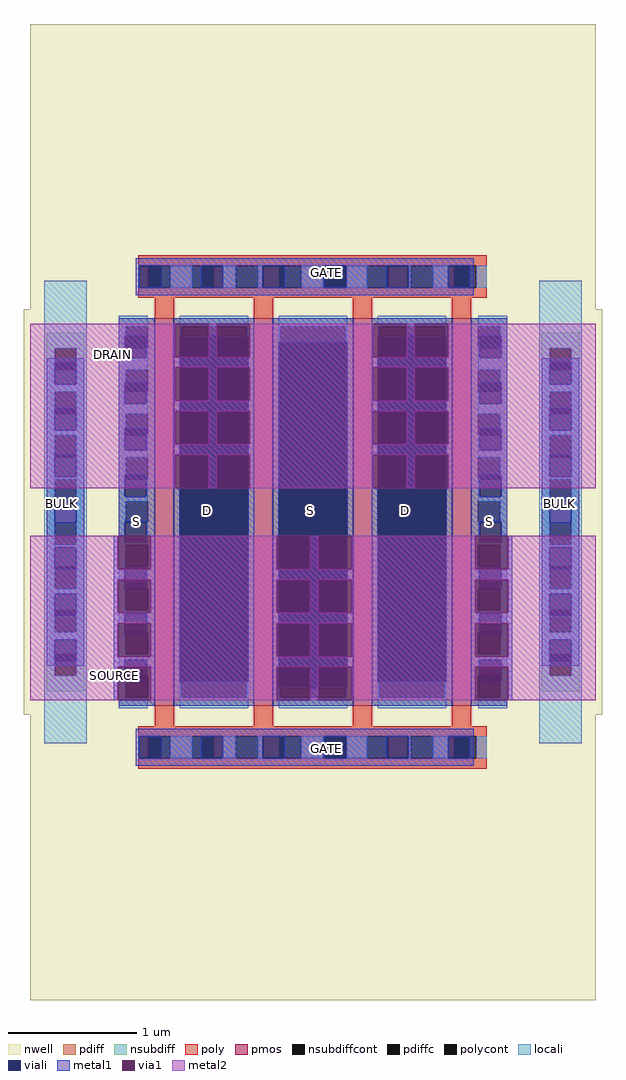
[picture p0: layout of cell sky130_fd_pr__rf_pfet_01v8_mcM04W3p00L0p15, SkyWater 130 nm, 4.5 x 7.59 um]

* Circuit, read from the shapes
.subckt sky130_fd_pr__rf_pfet_01v8_mcM04W3p00L0p15 DRAIN GATE SOURCE BULK
XM1 DRAIN GATE SOURCE BULK sky130_fd_pr__pfet_01v8 w=3.01 l=0.15 m=4
.ends

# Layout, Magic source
magic
tech sky130A
magscale 1 2
<< nwell >>
rect 0 1074 880 1518
rect -10 444 890 1074
rect 0 0 880 444
<< pmos >>
rect 194 458 224 1060
rect 348 458 378 1060
rect 502 458 532 1060
rect 656 458 686 1060
<< pdiff >>
rect 138 1048 194 1060
rect 138 1014 149 1048
rect 183 1014 194 1048
rect 138 980 194 1014
rect 138 946 149 980
rect 183 946 194 980
rect 138 912 194 946
rect 138 878 149 912
rect 183 878 194 912
rect 138 844 194 878
rect 138 810 149 844
rect 183 810 194 844
rect 138 776 194 810
rect 138 742 149 776
rect 183 742 194 776
rect 138 708 194 742
rect 138 674 149 708
rect 183 674 194 708
rect 138 640 194 674
rect 138 606 149 640
rect 183 606 194 640
rect 138 572 194 606
rect 138 538 149 572
rect 183 538 194 572
rect 138 504 194 538
rect 138 470 149 504
rect 183 470 194 504
rect 138 458 194 470
rect 224 1048 348 1060
rect 224 470 235 1048
rect 337 470 348 1048
rect 224 458 348 470
rect 378 1048 502 1060
rect 378 470 389 1048
rect 491 470 502 1048
rect 378 458 502 470
rect 532 1048 656 1060
rect 532 470 543 1048
rect 645 470 656 1048
rect 532 458 656 470
rect 686 1048 742 1060
rect 686 1014 697 1048
rect 731 1014 742 1048
rect 686 980 742 1014
rect 686 946 697 980
rect 731 946 742 980
rect 686 912 742 946
rect 686 878 697 912
rect 731 878 742 912
rect 686 844 742 878
rect 686 810 697 844
rect 731 810 742 844
rect 686 776 742 810
rect 686 742 697 776
rect 731 742 742 776
rect 686 708 742 742
rect 686 674 697 708
rect 731 674 742 708
rect 686 640 742 674
rect 686 606 697 640
rect 731 606 742 640
rect 686 572 742 606
rect 686 538 697 572
rect 731 538 742 572
rect 686 504 742 538
rect 686 470 697 504
rect 731 470 742 504
rect 686 458 742 470
<< pdiffc >>
rect 149 1014 183 1048
rect 149 946 183 980
rect 149 878 183 912
rect 149 810 183 844
rect 149 742 183 776
rect 149 674 183 708
rect 149 606 183 640
rect 149 538 183 572
rect 149 470 183 504
rect 235 470 337 1048
rect 389 470 491 1048
rect 543 470 645 1048
rect 697 1014 731 1048
rect 697 946 731 980
rect 697 878 731 912
rect 697 810 731 844
rect 697 742 731 776
rect 697 674 731 708
rect 697 606 731 640
rect 697 538 731 572
rect 697 470 731 504
<< nsubdiff >>
rect 26 1014 84 1038
rect 26 980 38 1014
rect 72 980 84 1014
rect 26 946 84 980
rect 26 912 38 946
rect 72 912 84 946
rect 26 878 84 912
rect 26 844 38 878
rect 72 844 84 878
rect 26 810 84 844
rect 26 776 38 810
rect 72 776 84 810
rect 26 742 84 776
rect 26 708 38 742
rect 72 708 84 742
rect 26 674 84 708
rect 26 640 38 674
rect 72 640 84 674
rect 26 606 84 640
rect 26 572 38 606
rect 72 572 84 606
rect 26 538 84 572
rect 26 504 38 538
rect 72 504 84 538
rect 26 480 84 504
rect 796 1014 854 1038
rect 796 980 808 1014
rect 842 980 854 1014
rect 796 946 854 980
rect 796 912 808 946
rect 842 912 854 946
rect 796 878 854 912
rect 796 844 808 878
rect 842 844 854 878
rect 796 810 854 844
rect 796 776 808 810
rect 842 776 854 810
rect 796 742 854 776
rect 796 708 808 742
rect 842 708 854 742
rect 796 674 854 708
rect 796 640 808 674
rect 842 640 854 674
rect 796 606 854 640
rect 796 572 808 606
rect 842 572 854 606
rect 796 538 854 572
rect 796 504 808 538
rect 842 504 854 538
rect 796 480 854 504
<< nsubdiffcont >>
rect 38 980 72 1014
rect 38 912 72 946
rect 38 844 72 878
rect 38 776 72 810
rect 38 708 72 742
rect 38 640 72 674
rect 38 572 72 606
rect 38 504 72 538
rect 808 980 842 1014
rect 808 912 842 946
rect 808 844 842 878
rect 808 776 842 810
rect 808 708 842 742
rect 808 640 842 674
rect 808 572 842 606
rect 808 504 842 538
<< poly >>
rect 168 1142 710 1158
rect 168 1108 184 1142
rect 218 1108 252 1142
rect 286 1108 320 1142
rect 354 1108 388 1142
rect 422 1108 456 1142
rect 490 1108 524 1142
rect 558 1108 592 1142
rect 626 1108 660 1142
rect 694 1108 710 1142
rect 168 1092 710 1108
rect 194 1060 224 1092
rect 348 1060 378 1092
rect 502 1060 532 1092
rect 656 1060 686 1092
rect 194 426 224 458
rect 348 426 378 458
rect 502 426 532 458
rect 656 426 686 458
rect 168 410 710 426
rect 168 376 184 410
rect 218 376 252 410
rect 286 376 320 410
rect 354 376 388 410
rect 422 376 456 410
rect 490 376 524 410
rect 558 376 592 410
rect 626 376 660 410
rect 694 376 710 410
rect 168 360 710 376
<< polycont >>
rect 184 1108 218 1142
rect 252 1108 286 1142
rect 320 1108 354 1142
rect 388 1108 422 1142
rect 456 1108 490 1142
rect 524 1108 558 1142
rect 592 1108 626 1142
rect 660 1108 694 1142
rect 184 376 218 410
rect 252 376 286 410
rect 320 376 354 410
rect 388 376 422 410
rect 456 376 490 410
rect 524 376 558 410
rect 592 376 626 410
rect 660 376 694 410
<< locali >>
rect 22 1014 88 1119
rect 168 1108 170 1142
rect 218 1108 252 1142
rect 300 1108 320 1142
rect 354 1108 362 1142
rect 422 1108 456 1142
rect 492 1108 524 1142
rect 588 1108 592 1142
rect 626 1108 650 1142
rect 694 1108 710 1142
rect 22 958 38 1014
rect 72 958 88 1014
rect 22 946 88 958
rect 22 886 38 946
rect 72 886 88 946
rect 22 878 88 886
rect 22 814 38 878
rect 72 814 88 878
rect 22 810 88 814
rect 22 708 38 810
rect 72 708 88 810
rect 22 704 88 708
rect 22 640 38 704
rect 72 640 88 704
rect 22 632 88 640
rect 22 572 38 632
rect 72 572 88 632
rect 22 560 88 572
rect 22 504 38 560
rect 72 504 88 560
rect 22 399 88 504
rect 138 1048 183 1064
rect 138 1033 149 1048
rect 138 999 147 1033
rect 181 999 183 1014
rect 138 980 183 999
rect 138 961 149 980
rect 138 927 147 961
rect 181 927 183 946
rect 138 912 183 927
rect 138 889 149 912
rect 138 855 147 889
rect 181 855 183 878
rect 138 844 183 855
rect 138 817 149 844
rect 138 783 147 817
rect 181 783 183 810
rect 138 776 183 783
rect 138 745 149 776
rect 138 711 147 745
rect 181 711 183 742
rect 138 708 183 711
rect 138 674 149 708
rect 138 673 183 674
rect 138 639 147 673
rect 181 640 183 673
rect 138 606 149 639
rect 138 601 183 606
rect 138 567 147 601
rect 181 572 183 601
rect 138 538 149 567
rect 138 529 183 538
rect 138 495 147 529
rect 181 504 183 529
rect 138 470 149 495
rect 138 454 183 470
rect 233 1048 339 1064
rect 233 1033 235 1048
rect 337 1033 339 1048
rect 233 470 235 495
rect 337 470 339 495
rect 233 454 339 470
rect 387 1048 493 1064
rect 387 1023 389 1048
rect 491 1023 493 1048
rect 387 470 389 485
rect 491 470 493 485
rect 387 454 493 470
rect 541 1048 647 1064
rect 541 1033 543 1048
rect 645 1033 647 1048
rect 541 470 543 495
rect 645 470 647 495
rect 541 454 647 470
rect 697 1048 742 1064
rect 731 1033 742 1048
rect 697 999 699 1014
rect 733 999 742 1033
rect 697 980 742 999
rect 731 961 742 980
rect 697 927 699 946
rect 733 927 742 961
rect 697 912 742 927
rect 731 889 742 912
rect 697 855 699 878
rect 733 855 742 889
rect 697 844 742 855
rect 731 817 742 844
rect 697 783 699 810
rect 733 783 742 817
rect 697 776 742 783
rect 731 745 742 776
rect 697 711 699 742
rect 733 711 742 745
rect 697 708 742 711
rect 731 674 742 708
rect 697 673 742 674
rect 697 640 699 673
rect 733 639 742 673
rect 731 606 742 639
rect 697 601 742 606
rect 697 572 699 601
rect 733 567 742 601
rect 731 538 742 567
rect 697 529 742 538
rect 697 504 699 529
rect 733 495 742 529
rect 731 470 742 495
rect 697 454 742 470
rect 792 1014 858 1119
rect 792 958 808 1014
rect 842 958 858 1014
rect 792 946 858 958
rect 792 886 808 946
rect 842 886 858 946
rect 792 878 858 886
rect 792 814 808 878
rect 842 814 858 878
rect 792 810 858 814
rect 792 708 808 810
rect 842 708 858 810
rect 792 704 858 708
rect 792 640 808 704
rect 842 640 858 704
rect 792 632 858 640
rect 792 572 808 632
rect 842 572 858 632
rect 792 560 858 572
rect 792 504 808 560
rect 842 504 858 560
rect 168 376 170 410
rect 218 376 252 410
rect 300 376 320 410
rect 354 376 362 410
rect 422 376 456 410
rect 492 376 524 410
rect 588 376 592 410
rect 626 376 650 410
rect 694 376 710 410
rect 792 399 858 504
<< viali >>
rect 170 1108 184 1142
rect 184 1108 204 1142
rect 266 1108 286 1142
rect 286 1108 300 1142
rect 362 1108 388 1142
rect 388 1108 396 1142
rect 458 1108 490 1142
rect 490 1108 492 1142
rect 554 1108 558 1142
rect 558 1108 588 1142
rect 650 1108 660 1142
rect 660 1108 684 1142
rect 38 980 72 992
rect 38 958 72 980
rect 38 912 72 920
rect 38 886 72 912
rect 38 844 72 848
rect 38 814 72 844
rect 38 742 72 776
rect 38 674 72 704
rect 38 670 72 674
rect 38 606 72 632
rect 38 598 72 606
rect 38 538 72 560
rect 38 526 72 538
rect 147 1014 149 1033
rect 149 1014 181 1033
rect 147 999 181 1014
rect 147 946 149 961
rect 149 946 181 961
rect 147 927 181 946
rect 147 878 149 889
rect 149 878 181 889
rect 147 855 181 878
rect 147 810 149 817
rect 149 810 181 817
rect 147 783 181 810
rect 147 742 149 745
rect 149 742 181 745
rect 147 711 181 742
rect 147 640 181 673
rect 147 639 149 640
rect 149 639 181 640
rect 147 572 181 601
rect 147 567 149 572
rect 149 567 181 572
rect 147 504 181 529
rect 147 495 149 504
rect 149 495 181 504
rect 233 495 235 1033
rect 235 495 337 1033
rect 337 495 339 1033
rect 387 485 389 1023
rect 389 485 491 1023
rect 491 485 493 1023
rect 541 495 543 1033
rect 543 495 645 1033
rect 645 495 647 1033
rect 699 1014 731 1033
rect 731 1014 733 1033
rect 699 999 733 1014
rect 699 946 731 961
rect 731 946 733 961
rect 699 927 733 946
rect 699 878 731 889
rect 731 878 733 889
rect 699 855 733 878
rect 699 810 731 817
rect 731 810 733 817
rect 699 783 733 810
rect 699 742 731 745
rect 731 742 733 745
rect 699 711 733 742
rect 699 640 733 673
rect 699 639 731 640
rect 731 639 733 640
rect 699 572 733 601
rect 699 567 731 572
rect 731 567 733 572
rect 699 504 733 529
rect 699 495 731 504
rect 731 495 733 504
rect 808 980 842 992
rect 808 958 842 980
rect 808 912 842 920
rect 808 886 842 912
rect 808 844 842 848
rect 808 814 842 844
rect 808 742 842 776
rect 808 674 842 704
rect 808 670 842 674
rect 808 606 842 632
rect 808 598 842 606
rect 808 538 842 560
rect 808 526 842 538
rect 170 376 184 410
rect 184 376 204 410
rect 266 376 286 410
rect 286 376 300 410
rect 362 376 388 410
rect 388 376 396 410
rect 458 376 490 410
rect 490 376 492 410
rect 554 376 558 410
rect 558 376 588 410
rect 650 376 660 410
rect 660 376 684 410
<< metal1 >>
rect 164 1142 690 1154
rect 164 1108 170 1142
rect 204 1108 266 1142
rect 300 1108 362 1142
rect 396 1108 458 1142
rect 492 1108 554 1142
rect 588 1108 650 1142
rect 684 1108 690 1142
rect 164 1096 690 1108
rect 138 1033 194 1060
rect 138 999 147 1033
rect 181 999 194 1033
rect 26 992 84 998
rect 26 958 38 992
rect 72 958 84 992
rect 26 920 84 958
rect 26 886 38 920
rect 72 886 84 920
rect 26 848 84 886
rect 26 814 38 848
rect 72 814 84 848
rect 26 776 84 814
rect 26 742 38 776
rect 72 742 84 776
rect 26 704 84 742
rect 138 961 194 999
rect 138 927 147 961
rect 181 927 194 961
rect 138 889 194 927
rect 138 855 147 889
rect 181 855 194 889
rect 138 817 194 855
rect 138 783 147 817
rect 181 783 194 817
rect 138 745 194 783
rect 138 722 147 745
rect 181 722 194 745
rect 26 670 38 704
rect 72 670 84 704
rect 26 632 84 670
rect 26 598 38 632
rect 72 598 84 632
rect 26 560 84 598
rect 26 526 38 560
rect 72 526 84 560
rect 26 520 84 526
rect 130 670 136 722
rect 188 670 194 722
rect 130 654 147 670
rect 181 654 194 670
rect 130 602 136 654
rect 188 602 194 654
rect 130 601 194 602
rect 130 586 147 601
rect 181 586 194 601
rect 130 534 136 586
rect 188 534 194 586
rect 130 529 194 534
rect 130 518 147 529
rect 181 518 194 529
rect 130 466 136 518
rect 188 466 194 518
rect 138 458 194 466
rect 223 1052 349 1060
rect 223 1000 226 1052
rect 278 1033 290 1052
rect 342 1000 349 1052
rect 223 984 233 1000
rect 339 984 349 1000
rect 223 932 226 984
rect 342 932 349 984
rect 223 916 233 932
rect 339 916 349 932
rect 223 864 226 916
rect 342 864 349 916
rect 223 848 233 864
rect 339 848 349 864
rect 223 796 226 848
rect 342 796 349 848
rect 223 495 233 796
rect 339 495 349 796
rect 223 458 349 495
rect 377 1023 503 1060
rect 377 722 387 1023
rect 493 722 503 1023
rect 377 670 384 722
rect 500 670 503 722
rect 377 654 387 670
rect 493 654 503 670
rect 377 602 384 654
rect 500 602 503 654
rect 377 586 387 602
rect 493 586 503 602
rect 377 534 384 586
rect 500 534 503 586
rect 377 518 387 534
rect 493 518 503 534
rect 377 466 384 518
rect 436 466 448 485
rect 500 466 503 518
rect 377 458 503 466
rect 531 1052 657 1060
rect 531 1000 534 1052
rect 586 1033 598 1052
rect 650 1000 657 1052
rect 531 984 541 1000
rect 647 984 657 1000
rect 531 932 534 984
rect 650 932 657 984
rect 531 916 541 932
rect 647 916 657 932
rect 531 864 534 916
rect 650 864 657 916
rect 531 848 541 864
rect 647 848 657 864
rect 531 796 534 848
rect 650 796 657 848
rect 531 495 541 796
rect 647 495 657 796
rect 531 458 657 495
rect 686 1033 742 1060
rect 686 999 699 1033
rect 733 999 742 1033
rect 686 961 742 999
rect 686 927 699 961
rect 733 927 742 961
rect 686 889 742 927
rect 686 855 699 889
rect 733 855 742 889
rect 686 817 742 855
rect 686 783 699 817
rect 733 783 742 817
rect 686 745 742 783
rect 686 722 699 745
rect 733 722 742 745
rect 796 992 854 998
rect 796 958 808 992
rect 842 958 854 992
rect 796 920 854 958
rect 796 886 808 920
rect 842 886 854 920
rect 796 848 854 886
rect 796 814 808 848
rect 842 814 854 848
rect 796 776 854 814
rect 796 742 808 776
rect 842 742 854 776
rect 686 670 692 722
rect 744 670 750 722
rect 686 654 699 670
rect 733 654 750 670
rect 686 602 692 654
rect 744 602 750 654
rect 686 601 750 602
rect 686 586 699 601
rect 733 586 750 601
rect 686 534 692 586
rect 744 534 750 586
rect 686 529 750 534
rect 686 518 699 529
rect 733 518 750 529
rect 796 704 854 742
rect 796 670 808 704
rect 842 670 854 704
rect 796 632 854 670
rect 796 598 808 632
rect 842 598 854 632
rect 796 560 854 598
rect 796 526 808 560
rect 842 526 854 560
rect 796 520 854 526
rect 686 466 692 518
rect 744 466 750 518
rect 686 458 742 466
rect 164 410 690 422
rect 164 376 170 410
rect 204 376 266 410
rect 300 376 362 410
rect 396 376 458 410
rect 492 376 554 410
rect 588 376 650 410
rect 684 376 690 410
rect 164 364 690 376
<< via1 >>
rect 136 711 147 722
rect 147 711 181 722
rect 181 711 188 722
rect 136 673 188 711
rect 136 670 147 673
rect 147 670 181 673
rect 181 670 188 673
rect 136 639 147 654
rect 147 639 181 654
rect 181 639 188 654
rect 136 602 188 639
rect 136 567 147 586
rect 147 567 181 586
rect 181 567 188 586
rect 136 534 188 567
rect 136 495 147 518
rect 147 495 181 518
rect 181 495 188 518
rect 136 466 188 495
rect 226 1033 278 1052
rect 290 1033 342 1052
rect 226 1000 233 1033
rect 233 1000 278 1033
rect 290 1000 339 1033
rect 339 1000 342 1033
rect 226 932 233 984
rect 233 932 278 984
rect 290 932 339 984
rect 339 932 342 984
rect 226 864 233 916
rect 233 864 278 916
rect 290 864 339 916
rect 339 864 342 916
rect 226 796 233 848
rect 233 796 278 848
rect 290 796 339 848
rect 339 796 342 848
rect 384 670 387 722
rect 387 670 436 722
rect 448 670 493 722
rect 493 670 500 722
rect 384 602 387 654
rect 387 602 436 654
rect 448 602 493 654
rect 493 602 500 654
rect 384 534 387 586
rect 387 534 436 586
rect 448 534 493 586
rect 493 534 500 586
rect 384 485 387 518
rect 387 485 436 518
rect 448 485 493 518
rect 493 485 500 518
rect 384 466 436 485
rect 448 466 500 485
rect 534 1033 586 1052
rect 598 1033 650 1052
rect 534 1000 541 1033
rect 541 1000 586 1033
rect 598 1000 647 1033
rect 647 1000 650 1033
rect 534 932 541 984
rect 541 932 586 984
rect 598 932 647 984
rect 647 932 650 984
rect 534 864 541 916
rect 541 864 586 916
rect 598 864 647 916
rect 647 864 650 916
rect 534 796 541 848
rect 541 796 586 848
rect 598 796 647 848
rect 647 796 650 848
rect 692 711 699 722
rect 699 711 733 722
rect 733 711 744 722
rect 692 673 744 711
rect 692 670 699 673
rect 699 670 733 673
rect 733 670 744 673
rect 692 639 699 654
rect 699 639 733 654
rect 733 639 744 654
rect 692 602 744 639
rect 692 567 699 586
rect 699 567 733 586
rect 733 567 744 586
rect 692 534 744 567
rect 692 495 699 518
rect 699 495 733 518
rect 733 495 744 518
rect 692 466 744 495
<< metal2 >>
rect 0 1000 226 1052
rect 278 1000 290 1052
rect 342 1000 534 1052
rect 586 1000 598 1052
rect 650 1000 880 1052
rect 0 984 880 1000
rect 0 932 226 984
rect 278 932 290 984
rect 342 932 534 984
rect 586 932 598 984
rect 650 932 880 984
rect 0 916 880 932
rect 0 864 226 916
rect 278 864 290 916
rect 342 864 534 916
rect 586 864 598 916
rect 650 864 880 916
rect 0 848 880 864
rect 0 796 226 848
rect 278 796 290 848
rect 342 796 534 848
rect 586 796 598 848
rect 650 796 880 848
rect 0 670 136 722
rect 188 670 384 722
rect 436 670 448 722
rect 500 670 692 722
rect 744 670 880 722
rect 0 654 880 670
rect 0 602 136 654
rect 188 602 384 654
rect 436 602 448 654
rect 500 602 692 654
rect 744 602 880 654
rect 0 586 880 602
rect 0 534 136 586
rect 188 534 384 586
rect 436 534 448 586
rect 500 534 692 586
rect 744 534 880 586
rect 0 518 880 534
rect 0 466 136 518
rect 188 466 384 518
rect 436 466 448 518
rect 500 466 692 518
rect 744 466 880 518
<< labels >>
flabel comment s 166 745 166 745 0 FreeSans 300 0 0 0 S
flabel comment s 276 762 276 762 0 FreeSans 300 0 0 0 D
flabel comment s 436 762 436 762 0 FreeSans 300 0 0 0 S
flabel comment s 714 745 714 745 0 FreeSans 300 180 0 0 S
flabel comment s 584 762 584 762 0 FreeSans 300 0 0 0 D
flabel metal2 s 84 988 173 1020 0 FreeSans 400 0 0 0 DRAIN
port 1 nsew
flabel metal2 s 94 492 170 517 0 FreeSans 400 0 0 0 SOURCE
port 3 nsew
flabel metal1 s 36 738 62 805 0 FreeSans 400 90 0 0 BULK
port 4 nsew
flabel metal1 s 418 378 504 403 0 FreeSans 400 0 0 0 GATE
port 2 nsew
flabel metal1 s 418 1119 504 1144 0 FreeSans 400 0 0 0 GATE
port 2 nsew
flabel metal1 s 810 738 836 805 0 FreeSans 400 90 0 0 BULK
port 4 nsew
<< properties >>
string GDS_FILE $PDKPATH/libs.ref/sky130_fd_pr/gds/sky130_fd_pr.gds
string GDS_END 10086590
string GDS_START 10065796
<< end >>
